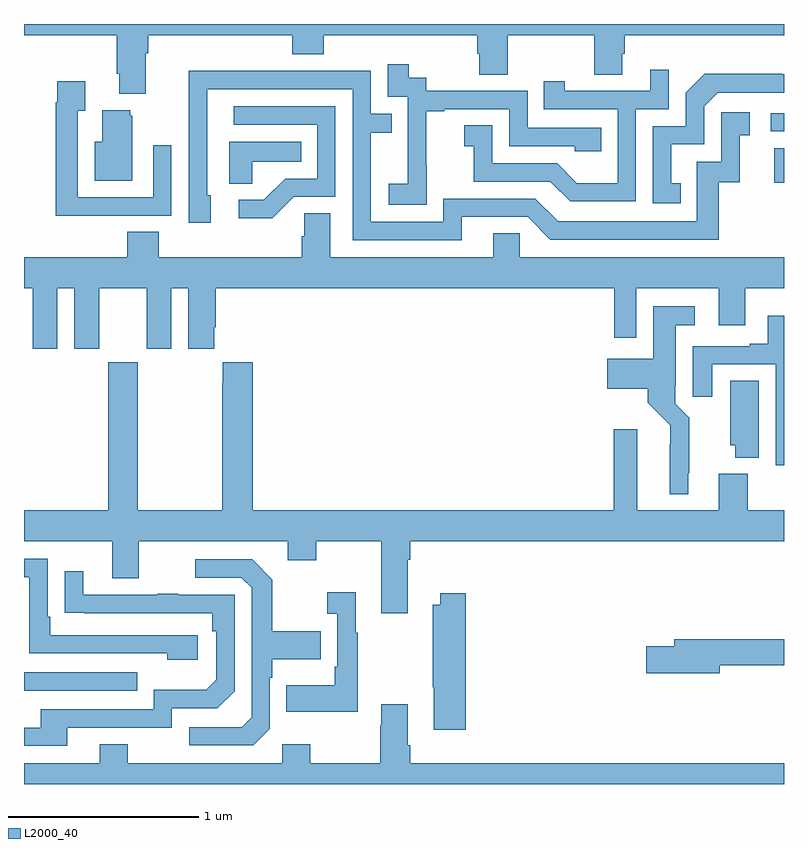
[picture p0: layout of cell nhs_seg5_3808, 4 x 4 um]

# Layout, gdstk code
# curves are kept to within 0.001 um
import gdstk
lib = gdstk.Library(unit=1e-6, precision=1e-09)
def R(c, l, rs):  # rectangles x0, y0, x1, y1
    for r in rs: c.add(gdstk.rectangle(r[:2], r[2:], *l))
def P(c, l, *ps):  # polygons
    for p in ps: c.add(gdstk.Polygon(p, *l))
L2000_40 = (2000, 40)

nhs_seg5_3808 = lib.new_cell('nhs_seg5_3808')
R(nhs_seg5_3808, L2000_40, [(335,873.291,335.597,873.387), (338.948,875.964,339,876.145), (338.931,876.234,339,876.33)])
P(nhs_seg5_3808, L2000_40, [(335.641,876.644),(335.654,876.644),(335.654,876.74),(336.413,876.74),(336.413,876.641),(336.578,876.641),(336.578,876.74),(337.385,876.74),(337.385,876.642),(337.397,876.642),(337.397,876.532),(337.545,876.532),(337.545,876.74),(338.002,876.74),(338.002,876.532),(338.149,876.532),(338.149,876.642),(338.162,876.642),(338.162,876.74),(339,876.74),(339,876.799),(335,876.799),(335,876.74),(335.489,876.74),(335.489,876.538),(335.501,876.538),(335.501,876.431),(335.641,876.431)],
  [(337.119,876.055),(337.118,876.055),(337.118,876.339),(337.213,876.339),(337.213,876.351),(337.554,876.351),(337.554,876.156),(337.899,876.156),(337.899,876.129),(338.039,876.129),(338.039,876.252),(337.65,876.252),(337.65,876.447),(337.116,876.447),(337.116,876.516),(337.024,876.516),(337.024,876.586),(336.915,876.586),(336.915,876.417),(337.02,876.417),(337.02,876.188),(337.019,876.188),(337.019,875.959),(336.921,875.959),(336.921,875.849),(337.119,875.849)],
  [(338.22,876.351),(338.394,876.351),(338.394,876.559),(338.297,876.559),(338.297,876.447),(337.846,876.447),(337.846,876.499),(337.735,876.499),(337.735,876.351),(338.124,876.351),(338.124,875.962),(337.91,875.962),(337.806,876.066),(337.464,876.066),(337.464,876.265),(337.317,876.265),(337.317,876.155),(337.366,876.155),(337.366,875.97),(337.769,875.97),(337.874,875.865),(338.22,875.865)],
  [(337.303,875.784),(337.65,875.784),(337.77,875.664),(338.657,875.664),(338.657,875.967),(338.768,875.967),(338.768,876.213),(338.821,876.213),(338.821,876.334),(338.67,876.334),(338.67,876.075),(338.541,876.075),(338.541,875.76),(337.812,875.76),(337.692,875.88),(337.206,875.88),(337.206,875.757),(336.825,875.757),(336.825,876.226),(336.935,876.226),(336.935,876.327),(336.825,876.327),(336.825,876.552),(336.329,876.552),(336.329,876.554),(335.866,876.554),(335.866,876.247),(335.868,876.247),(335.868,875.754),(335.983,875.754),(335.983,875.898),(335.964,875.898),(335.964,876.456),(336.729,876.456),(336.729,875.661),(337.303,875.661)],
  [(338.456,875.961),(338.407,875.961),(338.407,876.165),(338.58,876.165),(338.58,876.366),(338.652,876.438),(339,876.438),(339,876.534),(338.99,876.534),(338.99,876.536),(338.582,876.536),(338.484,876.438),(338.484,876.261),(338.31,876.261),(338.31,875.856),(338.456,875.856)],
  [(335.459,875.79),(335.775,875.79),(335.775,876.16),(335.679,876.16),(335.679,875.886),(335.283,875.886),(335.283,876.343),(335.323,876.343),(335.323,876.499),(335.175,876.499),(335.175,876.386),(335.167,876.386),(335.167,875.789),(335.459,875.789)],
  [(336.42,875.889),(336.639,875.889),(336.639,876.366),(336.105,876.366),(336.105,876.27),(336.543,876.27),(336.543,875.985),(336.374,875.985),(336.263,875.874),(336.129,875.874),(336.129,875.777),(336.307,875.777)],
  [(335.569,876.315),(335.558,876.315),(335.558,876.346),(335.411,876.346),(335.411,876.178),(335.372,876.178),(335.372,875.975),(335.569,875.975)],
  [(336.201,876.074),(336.458,876.074),(336.458,876.178),(336.08,876.178),(336.08,875.959),(336.201,875.959)],
  [(335.176,875.408),(335.264,875.408),(335.264,875.091),(335.395,875.091),(335.395,875.408),(335.645,875.408),(335.645,875.091),(335.776,875.091),(335.776,875.408),(335.864,875.408),(335.864,875.091),(336.001,875.091),(336.001,875.203),(336.008,875.203),(336.008,875.408),(338.107,875.408),(338.107,875.148),(338.223,875.148),(338.223,875.408),(338.657,875.408),(338.657,875.214),(338.797,875.214),(338.797,875.408),(339,875.408),(339,875.572),(337.608,875.572),(337.608,875.699),(337.469,875.699),(337.469,875.572),(336.613,875.572),(336.613,875.804),(336.474,875.804),(336.474,875.681),(336.461,875.681),(336.461,875.572),(335.708,875.572),(335.708,875.705),(335.543,875.705),(335.543,875.572),(335,875.572),(335,875.408),(335.045,875.408),(335.045,875.091),(335.176,875.091)],
  [(338.497,874.435),(338.501,874.435),(338.501,874.726),(338.427,874.8),(338.427,874.894),(338.431,874.894),(338.431,875.213),(338.53,875.213),(338.53,875.314),(338.312,875.314),(338.312,875.038),(338.07,875.038),(338.07,874.88),(338.282,874.88),(338.282,874.806),(338.4,874.688),(338.399,874.325),(338.497,874.325)],
  [(339,875.263),(338.915,875.263),(338.915,875.116),(338.819,875.116),(338.819,875.103),(338.519,875.103),(338.519,874.836),(338.623,874.836),(338.623,875.007),(338.957,875.007),(338.957,874.476),(339,874.476)],
  [(337.021,873.98),(337.034,873.98),(337.034,874.076),(339,874.076),(339,874.24),(338.81,874.24),(338.81,874.432),(338.657,874.432),(338.657,874.24),(338.227,874.24),(338.227,874.666),(338.105,874.666),(338.105,874.24),(336.203,874.24),(336.203,875.02),(336.047,875.02),(336.047,874.907),(336.043,874.907),(336.043,874.24),(335.598,874.24),(335.598,875.02),(335.443,875.02),(335.443,874.24),(335,874.24),(335,874.076),(335.465,874.076),(335.465,873.882),(335.605,873.882),(335.605,874.076),(336.389,874.076),(336.389,873.977),(336.537,873.977),(336.537,874.076),(336.881,874.076),(336.881,873.699),(337.021,873.699)],
  [(338.866,874.922),(338.717,874.922),(338.717,874.581),(338.744,874.581),(338.744,874.517),(338.866,874.517)],
  [(335.914,873.582),(335.137,873.582),(335.137,873.679),(335.124,873.679),(335.124,873.984),(335,873.984),(335,873.888),(335.028,873.888),(335.028,873.486),(335.753,873.486),(335.753,873.452),(335.914,873.452)],
  [(336.294,873.09),(336.294,873.359),(336.307,873.359),(336.307,873.455),(336.563,873.455),(336.563,873.603),(336.307,873.603),(336.307,873.875),(336.201,873.981),(335.901,873.981),(335.901,873.885),(336.144,873.885),(336.198,873.831),(336.198,873.15),(336.147,873.099),(335.871,873.099),(335.871,873.003),(336.207,873.003)],
  [(335.227,873.096),(335.778,873.096),(335.778,873.198),(336.018,873.198),(336.108,873.288),(336.108,873.795),(335.813,873.795),(335.813,873.8),(335.701,873.8),(335.701,873.795),(335.311,873.795),(335.311,873.919),(335.215,873.919),(335.215,873.7),(335.992,873.699),(335.992,873.602),(336.012,873.602),(336.012,873.348),(335.959,873.295),(335.682,873.295),(335.682,873.192),(335.087,873.192),(335.087,873.096),(335,873.096),(335,873),(335.227,873)],
  [(336.757,873.595),(336.745,873.595),(336.745,873.808),(336.597,873.808),(336.597,873.695),(336.648,873.695),(336.648,873.415),(336.636,873.415),(336.636,873.319),(336.379,873.319),(336.379,873.179),(336.757,873.179)],
  [(337.325,873.802),(337.19,873.802),(337.19,873.742),(337.15,873.742),(337.15,873.307),(337.157,873.307),(337.157,873.084),(337.325,873.084)],
  [(338.662,873.424),(339,873.424),(339,873.56),(338.423,873.56),(338.423,873.524),(338.274,873.524),(338.274,873.382),(338.662,873.382)],
  [(339,872.908),(337.034,872.908),(337.034,873.004),(337.021,873.004),(337.021,873.22),(336.881,873.22),(336.881,873.107),(336.874,873.107),(336.874,872.908),(336.507,872.908),(336.507,873.007),(336.36,873.007),(336.36,872.908),(335.547,872.908),(335.547,873.007),(335.399,873.007),(335.399,872.908),(335,872.908),(335,872.799),(339,872.799)])

lib.write_gds('nhs_seg5_3808.gds')
